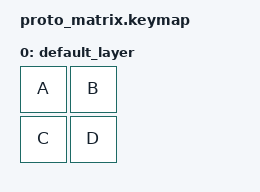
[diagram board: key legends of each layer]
/*
 * 4 キーに a〜d を割り当てる。matrix-transform を書いていないので、
 * ZMK は既定で「行ごとに左から右へ」順に並べる（2 行 × 2 列 = 4）。
 *
 *   a b
 *   c d
 *
 * ゴースト試験では a・b・c を同時に押す。d が出たら不合格。
 */
#include <behaviors.dtsi>
#include <dt-bindings/zmk/keys.h>

/ {
	keymap {
		compatible = "zmk,keymap";

		default_layer {
			bindings = <
			&kp A &kp B
			&kp C &kp D
			>;
		};
	};
};
